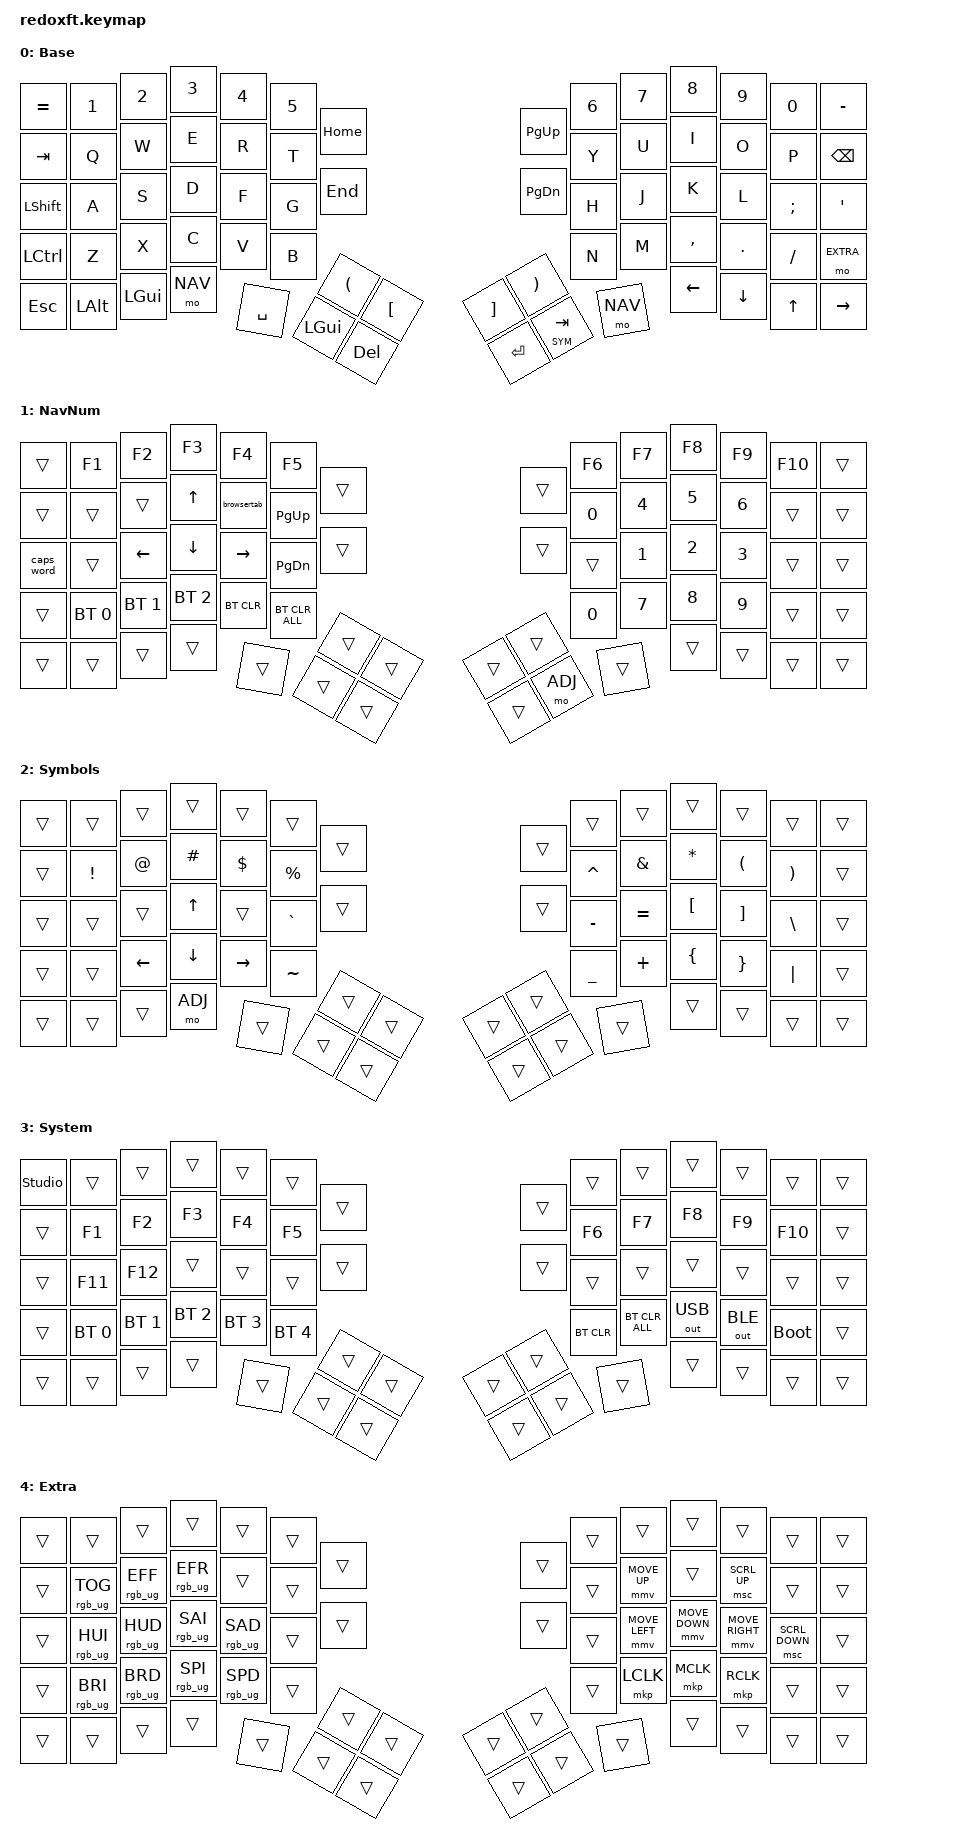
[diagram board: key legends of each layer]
/*
 * Redox FT keymap — dongle version
 *
 * 5 warstw: DEF, NAV, SYM, ADJ, EXTRA
 * 35 per-key LED na każdej połówce (konfiguracja chain-length w overlay)
 * Kompatybilne z ZMK Studio
 *
 * Dodatkowe klawisze Redoxa względem Corne (28 nowych pozycji):
 *  - skrajna lewa kolumna każdej strony (10 klawiszy)
 *  - górny rząd cyfrowy (12 klawiszy)
 *  - wewnętrzna kolumna obok kciuków (4 klawisze)
 *  - rozszerzony thumb cluster (4 klawisze)
 */

#include <behaviors.dtsi>
#include <dt-bindings/zmk/bt.h>
#include <dt-bindings/zmk/keys.h>
#include <dt-bindings/zmk/pointing.h>
#include <dt-bindings/zmk/outputs.h>
#include <dt-bindings/zmk/rgb.h>

#define DEF 0
#define NAV 1
#define SYM 2
#define ADJ 3
#define EXTRA 4

/ {
    behaviors {
        hm: homerow_mods {
            compatible = "zmk,behavior-hold-tap";
            #binding-cells = <2>;
            tapping-term-ms = <200>;
            flavor = "tap-preferred";
            bindings = <&kp>, <&kp>;

            quick-tap-ms = <180>;
            require-prior-idle-ms = <120>;
        };

        para: para {
            compatible = "zmk,behavior-tap-dance";
            #binding-cells = <0>;
            bindings = <&kp LEFT_PARENTHESIS>, <&kp RIGHT_PARENTHESIS>;
        };

        caps: caps {
            compatible = "zmk,behavior-caps-word";
            #binding-cells = <0>;
            continue-list = <MINUS BACKSPACE>;
        };

        paraless: paraless {
            compatible = "zmk,behavior-mod-morph";
            bindings = <&kp LEFT_PARENTHESIS>, <&kp LESS_THAN>;
            #binding-cells = <0>;
            mods = <(MOD_LSFT)>;
        };

        paragreat: paragreat {
            compatible = "zmk,behavior-mod-morph";
            bindings = <&kp RIGHT_PARENTHESIS>, <&kp GREATER_THAN>;
            #binding-cells = <0>;
            mods = <(MOD_LSFT)>;
        };
    };

    macros {
        browsertab: browsertab {
            compatible = "zmk,behavior-macro";
            #binding-cells = <0>;
            bindings =
                <&macro_press>,
                <&kp LCTRL>,
                <&macro_tap>,
                <&kp TAB>,
                <&macro_release>,
                <&kp LCTRL>;
        };
    };

    /*
     * Numeracja klawiszy (po matrix transform):
     *
     *  Rząd 0:  0  1  2  3  4  5                   6  7  8  9  10 11
     *  Rząd 1: 12 13 14 15 16 17 18              19 20 21 22 23 24 25
     *  Rząd 2: 26 27 28 29 30 31 32              33 34 35 36 37 38 39
     *  Rząd 3: 40 41 42 43 44 45 46 47        48 49 50 51 52 53 54 55
     *  Rząd 4: 56 57 58 59 60    61 62 63    64 65 66    67 68 69
     */
    combos {
        compatible = "zmk,combos";

        escape    { bindings = <&kp ESCAPE>;       key-positions = <30 36>; };
        delete    { bindings = <&kp DELETE>;        key-positions = <17 21>; };
        perc      { bindings = <&kp PERCENT>;       key-positions = <18 35>; layers = <0>; };
        equal     { bindings = <&kp EQUAL>;         key-positions = <45 35>; layers = <0>; };
        dollar    { bindings = <&kp DOLLAR>;        key-positions = <17 35>; layers = <0>; };
        pound     { bindings = <&kp POUND>;         key-positions = <16 36>; layers = <0>; };
        at        { bindings = <&kp AT>;            key-positions = <15 37>; layers = <0>; };
        backslash { bindings = <&kp BACKSLASH>;     key-positions = <44 37>; layers = <0>; };
        star      { bindings = <&kp STAR>;          key-positions = <21 51>; layers = <0>; };
        slash     { bindings = <&kp SLASH>;         key-positions = <53 51>; layers = <0>; };
        plus      { bindings = <&kp PLUS>;          key-positions = <20 50>; layers = <0>; };
        minus     { bindings = <&kp KP_MINUS>;      key-positions = <50 52>; layers = <0>; };
        underscore{ bindings = <&kp UNDER>;         key-positions = <52 53>; layers = <0>; };
        leftbrack { bindings = <&kp LEFT_BRACKET>;  key-positions = <50 51>; layers = <0>; };
        rightbrack{ bindings = <&kp RIGHT_BRACKET>; key-positions = <52 51>; layers = <0>; };
        para_less { bindings = <&paraless>;         key-positions = <51 50>; layers = <0>; };
        para_great{ bindings = <&paragreat>;        key-positions = <51 52>; layers = <0>; };
    };

    keymap {
        compatible = "zmk,keymap";

        DEF {
            display-name = "Base";
            bindings = <
&kp EQUAL  &kp N1     &kp N2    &kp N3   &kp N4   &kp N5                                              &kp N6     &kp N7     &kp N8        &kp N9    &kp N0    &kp MINUS
&kp TAB    &kp Q      &kp W     &kp E    &kp R    &kp T      &kp HOME                      &kp PG_UP  &kp Y      &kp U      &kp I         &kp O     &kp P     &kp BSPC
&kp LSHFT  &kp A      &kp S     &kp D    &kp F    &kp G      &kp END                       &kp PG_DN  &kp H      &kp J      &kp K         &kp L     &kp SEMI  &kp SQT
&kp LCTRL  &kp Z      &kp X     &kp C    &kp V    &kp B      &kp LPAR  &kp LBKT  &kp RBKT  &kp RPAR   &kp N      &kp M      &kp COMMA     &kp DOT   &kp FSLH  &mo EXTRA
&kp ESC    &kp LALT   &kp LGUI  &mo NAV         &kp SPACE     &kp LGUI  &kp DEL   &kp RET   &lt SYM TAB         &mo NAV     &kp LEFT      &kp DOWN  &kp UP    &kp RIGHT
            >;
        };

        NAV {
            display-name = "NavNum";
            bindings = <
&trans     &kp F1        &kp F2        &kp F3        &kp F4           &kp F5                                                  &kp F6     &kp F7    &kp F8    &kp F9    &kp F10  &trans
&trans     &trans        &trans        &kp UP_ARROW  &browsertab      &kp PAGE_UP    &trans                          &trans   &kp N0     &kp N4    &kp N5    &kp N6    &trans   &trans
&caps_word &trans        &kp LEFT      &kp DOWN      &kp RIGHT_ARROW  &kp PAGE_DOWN  &trans                          &trans   &trans     &kp N1    &kp N2    &kp N3    &trans   &trans
&trans     &bt BT_SEL 0  &bt BT_SEL 1  &bt BT_SEL 2  &bt BT_CLR       &bt BT_CLR_ALL &trans  &trans  &trans  &trans           &kp N0     &kp N7    &kp N8    &kp N9    &trans   &trans
&trans     &trans        &trans        &trans                  &trans                &trans  &trans  &trans  &mo ADJ                     &trans    &trans    &trans    &trans   &trans
            >;
        };

        SYM {
            display-name = "Symbols";
            bindings = <
&trans  &trans     &trans          &trans          &trans           &trans                                              &trans     &trans     &trans     &trans                &trans    &trans
&trans  &kp EXCL   &kp AT          &kp HASH        &kp DLLR         &kp PRCNT  &trans                          &trans   &kp CARET  &kp AMPS   &kp ASTRK  &kp LEFT_PARENTHESIS  &kp RPAR  &trans
&trans  &trans     &trans          &kp UP_ARROW    &trans           &kp GRAVE  &trans                          &trans   &kp MINUS  &kp EQUAL  &kp LBKT   &kp RBKT              &kp BSLH  &trans
&trans  &trans     &kp LEFT_ARROW  &kp DOWN_ARROW  &kp RIGHT_ARROW  &kp TILDE  &trans  &trans  &trans  &trans           &kp UNDER  &kp PLUS   &kp LBRC   &kp RBRC              &kp PIPE  &trans
&trans  &trans     &trans          &mo ADJ                  &trans             &trans  &trans  &trans  &trans                     &trans     &trans     &trans                &trans    &trans
            >;
        };

        ADJ {
            display-name = "System";
            bindings = <
&studio_unlock  &trans        &trans        &trans        &trans        &trans                                                                           &trans            &trans            &trans        &trans        &trans       &trans
&trans          &kp F1        &kp F2        &kp F3        &kp F4        &kp F5            &trans                                          &trans         &kp F6            &kp F7            &kp F8        &kp F9        &kp F10      &trans
&trans          &kp F11       &kp F12       &trans        &trans        &trans            &trans                                          &trans  &trans       &trans         &trans        &trans        &trans       &trans
&trans          &bt BT_SEL 0  &bt BT_SEL 1  &bt BT_SEL 2  &bt BT_SEL 3  &bt BT_SEL 4      &trans  &trans  &trans  &trans                               &bt BT_CLR        &bt BT_CLR_ALL    &out OUT_USB  &out OUT_BLE  &bootloader  &trans
&trans          &trans        &trans        &trans                &trans                  &trans  &trans  &trans  &trans                                        &trans            &trans            &trans        &trans       &trans
            >;
        };

        EXTRA {
            display-name = "Extra";
            /*
             * Lewa strona — sterowanie RGB:
             *   Q=TOG  W=EFF+  E=EFF-
             *   A=HUI  S=HUD  D=SAI  F=SAD
             *   Z=BRI  X=BRD  C=SPI  V=SPD
             *
             * Prawa strona — mysz:
             *   U=↑  O=ScrollUp
             *   J=←  K=↓  L=→  ;=ScrollDn
             *   M=LClick  ,=MClick  .=RClick
             */
            bindings = <
&trans  &trans               &trans               &trans               &trans               &trans                                                                                   &trans   &trans         &trans         &trans          &trans         &trans
&trans  &rgb_ug RGB_TOG      &rgb_ug RGB_EFF      &rgb_ug RGB_EFR      &trans               &trans               &trans                                      &trans   &trans  &mmv MOVE_UP   &trans         &msc SCRL_UP    &trans         &trans
&trans  &rgb_ug RGB_HUI      &rgb_ug RGB_HUD      &rgb_ug RGB_SAI      &rgb_ug RGB_SAD      &trans               &trans                                      &trans   &trans  &mmv MOVE_LEFT &mmv MOVE_DOWN &mmv MOVE_RIGHT &msc SCRL_DOWN &trans
&trans  &rgb_ug RGB_BRI      &rgb_ug RGB_BRD      &rgb_ug RGB_SPI      &rgb_ug RGB_SPD      &trans               &trans   &trans  &trans  &trans              &trans   &mkp LCLK      &mkp MCLK      &mkp RCLK       &trans         &trans
&trans  &trans               &trans               &trans                                    &trans               &trans   &trans  &trans  &trans                        &trans         &trans         &trans          &trans         &trans
            >;
        };
    };
};
